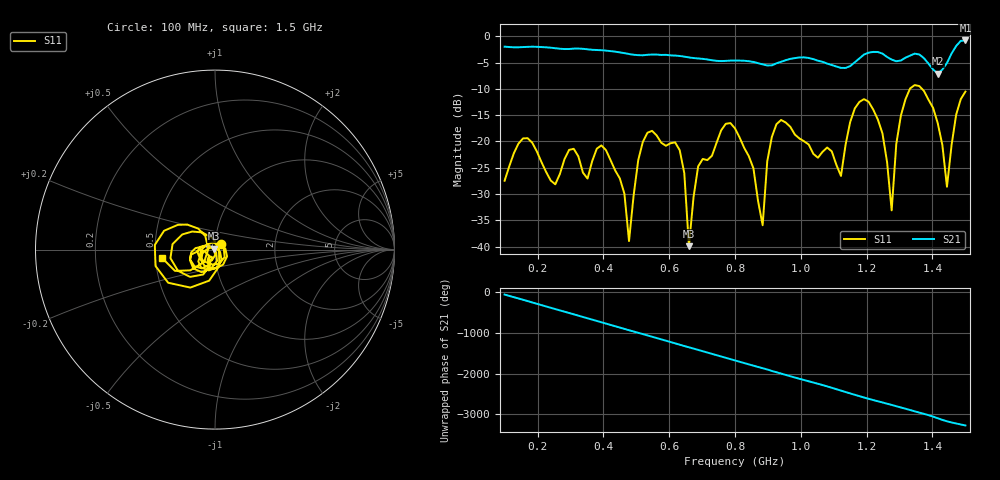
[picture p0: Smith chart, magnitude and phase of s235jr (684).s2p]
! NanoVNA-App
! Date: 2025-09-25 15:09:29
! Start: 100MHz Stop: 1,5GHz Points: 101
! S-Parameter data: F S11 S21 S12 S22
# Hz S RI R 50
!  Frequency  S11_Real  S11_Imag  S21_Real  S21_Imag  S12_Real  S12_Imag  S22_Real  S22_Imag
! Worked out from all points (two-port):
!   101 points, 100 MHz to 1.5 GHz, reference 50 ohm
!   highest |S21| = -0.79 dB at 1.5 GHz (marker M1); lowest = -7.1 dB at 1.416 GHz (marker M2)
!   |S21| within 3 dB of the highest: start of sweep to 637.5 MHz; 1.186 GHz to 1.259 GHz (72.99 MHz wide, 5.97 % of centre) (the widest 2 of 4)
!   lowest |S11| = -39.9 dB at 660 MHz (marker M3), VSWR 1.02, Z = 49.2 + j0.573 ohm
!   |S11| at or under -10 dB: start of sweep to 1.331 GHz; 1.368 GHz to end of sweep
!   S12 and S22 are empty: the file has one direction only
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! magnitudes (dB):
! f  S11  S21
! 100 MHz  -27.5  -2.0
! 156 MHz  -19.4  -2.0
! 338 MHz  -25.9  -2.4
! 408 MHz  -21.6  -2.7
! 478 MHz  -38.9  -3.4
! 520 MHz  -20.1  -3.6
! 576 MHz  -20.2  -3.5
! 632 MHz  -21.7  -3.7
! 660 MHz  -39.9  -4.0
! 688 MHz  -24.7  -4.2
! 800 MHz  -17.5  -4.6
! 884 MHz  -35.9  -5.3
! 926 MHz  -16.7  -5.1
! 1.038 GHz  -22.4  -4.3
! 1.122 GHz  -26.6  -6.0
! 1.206 GHz  -12.4  -3.1
! 1.276 GHz  -33.1  -4.4
! 1.29 GHz  -20.5  -4.7
! 1.332 GHz  -9.9  -3.7
! 1.416 GHz  -16.5  -7.1
! 1.444 GHz  -28.6  -5.1
! 1.5 GHz  -10.5  -0.8
